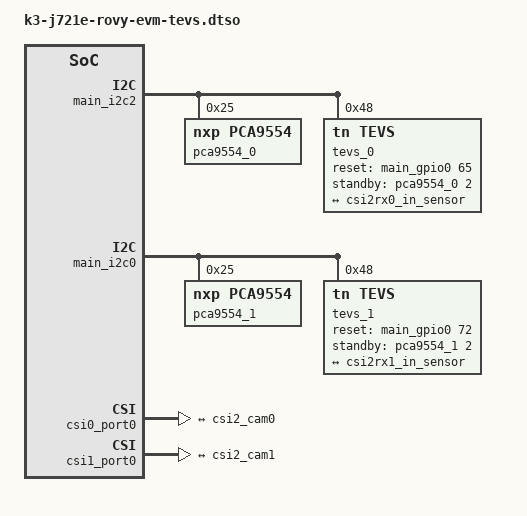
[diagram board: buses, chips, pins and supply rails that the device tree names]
// SPDX-License-Identifier: GPL-2.0
/**
 * DT Overlay for Technexion TEVS series camera interfaced with CSI2 on J721E-EAIK board.
 *
 * Copyright (C) 2023 Technexion Ltd.
 */

/dts-v1/;
/plugin/;

#include <dt-bindings/gpio/gpio.h>
#include "k3-pinctrl.h"

&main_pmx0 {

	main_rovy_cam0_pins_default: main-rovy-cam0-pins-default {
		pinctrl-single,pins = <
			J721E_IOPAD(0x108, PIN_OUTPUT, 7) /* (AD27) PRG0_PRU1_GPO2.GPIO0_65 */
			J721E_IOPAD(0x10c, PIN_OUTPUT, 7) /* (AC25) PRG0_PRU1_GPO3.GPIO0_66 */
		>;
	};
	main_rovy_cam1_pins_default: main-rovy-cam1-pins-default {
		pinctrl-single,pins = <
			J721E_IOPAD(0x124, PIN_OUTPUT, 7) /* (Y24) PRG0_PRU1_GPO9.GPIO0_72 */
			J721E_IOPAD(0x128, PIN_OUTPUT, 7) /* (AA25) PRG0_PRU1_GPO10.GPIO0_73 */
		>;
	};
};

&main_i2c2 {
	#address-cells = <1>;
	#size-cells = <0>;

	pca9554_0: pca9554_0@25 {
		compatible = "nxp,pca9554";
		reg = <0x25>;
		gpio-controller;
		#gpio-cells = <2>;
		status = "okay";
	};

	tevs_0: tevs@48 {
		compatible = "tn,tevs";
		reg = <0x48>;

		pinctrl-names = "default";
		pinctrl-0 = <&main_rovy_cam0_pins_default>;

		reset-gpios = <&main_gpio0 65 GPIO_ACTIVE_HIGH>;	//CSI0_RST_N_GPIO0_65
		standby-gpios = <&pca9554_0 2 GPIO_ACTIVE_HIGH>;

		data-lanes = <4>;
		data-frequency = <800>;
		pixel-rate = <41430400>;  //61430400
		continuous-clock = <0>;
		status = "okay";

		#address-cells = <1>;
		#size-cells = <0>;

		port {
			csi2_cam0: endpoint {
				remote-endpoint = <&csi2rx0_in_sensor>;
				clock-lanes = <0>;
				data-lanes = <1 2 3 4>;
			};
		};
	};
};

&main_i2c0 {
	#address-cells = <1>;
	#size-cells = <0>;

	pca9554_1: pca9554_1@25 {
		compatible = "nxp,pca9554";
		reg = <0x25>;
		gpio-controller;
		#gpio-cells = <2>;
		status = "okay";
	};

	tevs_1: tevs@48 {
		compatible = "tn,tevs";
		reg = <0x48>;

		pinctrl-names = "default";
		pinctrl-0 = <&main_rovy_cam1_pins_default>;

		reset-gpios = <&main_gpio0 72 GPIO_ACTIVE_HIGH>;	//CSI0_RST_N_GPIO0_65
		standby-gpios = <&pca9554_1 2 GPIO_ACTIVE_HIGH>;

		data-lanes = <4>;
		data-frequency = <800>;
		pixel-rate = <61430400>;  //61430400
		continuous-clock = <0>;
		status = "okay";

		#address-cells = <1>;
		#size-cells = <0>;

		port {
			csi2_cam1: endpoint {
				remote-endpoint = <&csi2rx1_in_sensor>;
				clock-lanes = <0>;
				data-lanes = <1 2 3 4>;
			};
		};
	};
};

&csi0_port0 {
	status = "okay";
	csi2rx0_in_sensor: endpoint {
		remote-endpoint = <&csi2_cam0>;
		bus-type = <4>; /* CSI2 DPHY. */
		clock-lanes = <0>;
		data-lanes = <1 2 3 4>;
	};
};

&csi1_port0 {
	status = "okay";
	csi2rx1_in_sensor: endpoint {
		remote-endpoint = <&csi2_cam1>;
		bus-type = <4>; /* CSI2 DPHY. */
		clock-lanes = <0>;
		data-lanes = <1 2 3 4>;
	};
};
